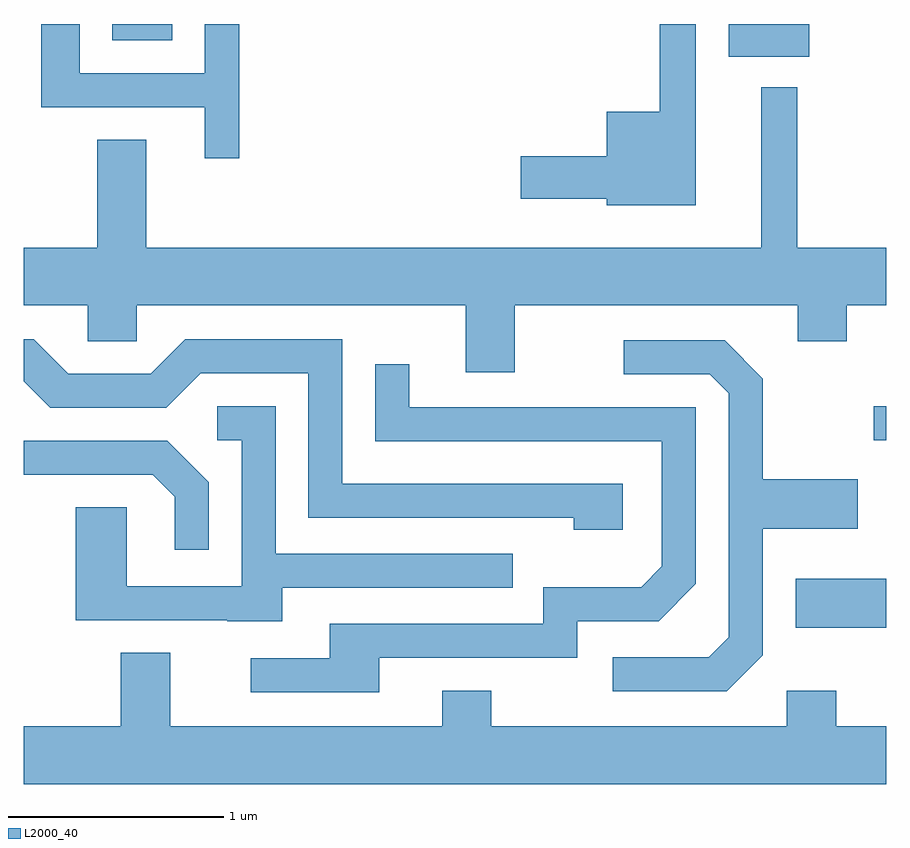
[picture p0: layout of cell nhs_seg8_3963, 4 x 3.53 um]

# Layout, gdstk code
import gdstk
lib = gdstk.Library(unit=1e-6, precision=1e-09)
def R(c, l, rs):  # rectangles x0, y0, x1, y1
    for r in rs: c.add(gdstk.rectangle(r[:2], r[2:], *l))
def P(c, l, *ps):  # polygons
    for p in ps: c.add(gdstk.Polygon(p, *l))
L2000_40 = (2000, 40)

nhs_seg8_3963 = lib.new_cell('nhs_seg8_3963')
R(nhs_seg8_3963, L2000_40, [(307.191,1881.541,307.611,1881.769), (307.553,1882.411,307.611,1882.569), (306.881,1884.191,307.254,1884.342), (304.021,1884.266,304.299,1884.342)])
P(nhs_seg8_3963, L2000_40, [(306.729,1884.342),(306.561,1884.342),(306.561,1883.934),(306.316,1883.934),(306.316,1883.729),(305.916,1883.729),(305.916,1883.531),(306.316,1883.531),(306.316,1883.501),(306.729,1883.501)],
  [(304.609,1884.342),(304.451,1884.342),(304.451,1884.114),(303.869,1884.114),(303.869,1884.342),(303.691,1884.342),(303.691,1883.956),(304.451,1883.956),(304.451,1883.718),(304.609,1883.718)],
  [(305.889,1883.036),(307.201,1883.036),(307.201,1882.871),(307.429,1882.871),(307.429,1883.036),(307.611,1883.036),(307.611,1883.304),(307.199,1883.304),(307.199,1884.048),(307.031,1884.048),(307.031,1883.304),(304.179,1883.304),(304.179,1883.804),(303.951,1883.804),(303.951,1883.304),(303.611,1883.304),(303.611,1883.036),(303.906,1883.036),(303.906,1882.871),(304.134,1882.871),(304.134,1883.036),(305.661,1883.036),(305.661,1882.726),(305.889,1882.726)],
  [(306.389,1882.209),(305.089,1882.209),(305.089,1882.879),(304.359,1882.879),(304.199,1882.719),(303.817,1882.719),(303.657,1882.879),(303.611,1882.879),(303.611,1882.684),(303.734,1882.561),(304.272,1882.561),(304.432,1882.721),(304.931,1882.721),(304.931,1882.051),(306.161,1882.051),(306.161,1881.996),(306.389,1881.996)],
  [(307.039,1881.414),(307.039,1882.001),(307.479,1882.001),(307.479,1882.229),(307.039,1882.229),(307.039,1882.697),(306.862,1882.874),(306.393,1882.874),(306.393,1882.716),(306.794,1882.716),(306.881,1882.629),(306.881,1881.497),(306.789,1881.404),(306.343,1881.404),(306.343,1881.246),(306.872,1881.246)],
  [(305.259,1881.401),(306.179,1881.401),(306.179,1881.571),(306.557,1881.571),(306.729,1881.744),(306.729,1882.564),(305.399,1882.564),(305.399,1882.763),(305.241,1882.763),(305.241,1882.406),(306.571,1882.406),(306.571,1881.827),(306.474,1881.729),(306.021,1881.729),(306.021,1881.559),(305.031,1881.559),(305.031,1881.399),(304.663,1881.399),(304.663,1881.241),(305.259,1881.241)],
  [(304.809,1881.726),(305.878,1881.726),(305.878,1881.884),(304.779,1881.884),(304.779,1882.569),(304.508,1882.569),(304.508,1882.411),(304.621,1882.411),(304.621,1881.734),(304.089,1881.734),(304.089,1882.099),(303.851,1882.099),(303.851,1881.576),(304.555,1881.576),(304.555,1881.571),(304.809,1881.571)],
  [(304.469,1882.217),(304.277,1882.409),(303.611,1882.409),(303.611,1882.251),(304.209,1882.251),(304.311,1882.149),(304.311,1881.903),(304.469,1881.903)],
  [(307.611,1881.084),(307.379,1881.084),(307.379,1881.249),(307.151,1881.249),(307.151,1881.084),(305.779,1881.084),(305.779,1881.249),(305.551,1881.249),(305.551,1881.084),(304.289,1881.084),(304.289,1881.424),(304.061,1881.424),(304.061,1881.084),(303.611,1881.084),(303.611,1880.816),(307.611,1880.816)])

lib.write_gds('nhs_seg8_3963.gds')
